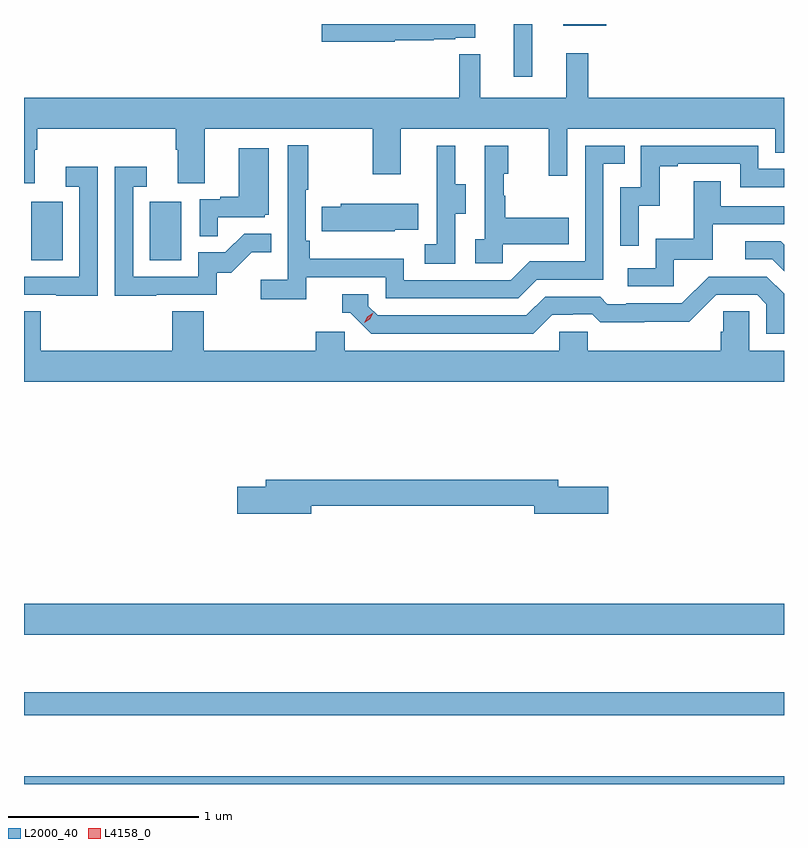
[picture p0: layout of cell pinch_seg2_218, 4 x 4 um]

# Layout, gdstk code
import gdstk
lib = gdstk.Library(unit=1e-6, precision=1e-09)
def R(c, l, rs):  # rectangles x0, y0, x1, y1
    for r in rs: c.add(gdstk.rectangle(r[:2], r[2:], *l))
def P(c, l, *ps):  # polygons
    for p in ps: c.add(gdstk.Polygon(p, *l))
L2000_40 = (2000, 40)
L4158_0 = (4158, 0)

pinch_seg2_218 = lib.new_cell('pinch_seg2_218')
R(pinch_seg2_218, L2000_40, [(994.049,648.183,998.049,648.223), (994.049,648.546,998.049,648.667), (994.049,648.968,998.049,649.132), (994.088,650.94,994.252,651.247), (994.712,650.94,994.876,651.247), (996.627,651.906,996.724,652.183), (996.887,652.175,997.114,652.183)])
P(pinch_seg2_218, L2000_40, [(996,652.098),(996.206,652.098),(996.206,652.104),(996.32,652.104),(996.32,652.11),(996.424,652.11),(996.424,652.183),(995.616,652.183),(995.616,652.09),(996,652.09)],
  [(994.105,651.52),(994.118,651.52),(994.118,651.632),(994.847,651.632),(994.847,651.52),(994.859,651.52),(994.859,651.346),(994.999,651.346),(994.999,651.632),(995.884,651.632),(995.884,651.393),(996.031,651.393),(996.031,651.632),(996.812,651.632),(996.812,651.384),(996.909,651.384),(996.909,651.632),(998.004,651.632),(998.004,651.505),(998.049,651.505),(998.049,651.796),(997.019,651.796),(997.019,652.03),(996.902,652.03),(996.902,651.796),(996.449,651.796),(996.449,652.025),(996.34,652.025),(996.34,651.796),(994.049,651.796),(994.049,651.346),(994.105,651.346)],
  [(995.534,650.85),(995.952,650.85),(995.952,650.739),(996.649,650.739),(996.748,650.838),(997.098,650.838),(997.098,651.447),(997.211,651.447),(997.211,651.543),(997.002,651.543),(997.002,650.934),(996.711,650.934),(996.612,650.835),(996.048,650.835),(996.048,650.947),(995.552,650.947),(995.552,651.043),(995.532,651.043),(995.532,651.31),(995.545,651.31),(995.545,651.544),(995.436,651.544),(995.436,650.836),(995.295,650.836),(995.295,650.734),(995.534,650.734)],
  [(997.284,651.227),(997.394,651.227),(997.394,651.435),(997.489,651.435),(997.489,651.447),(997.818,651.447),(997.818,651.324),(998.049,651.324),(998.049,651.42),(997.914,651.42),(997.914,651.543),(997.296,651.543),(997.296,651.324),(997.188,651.324),(997.188,651.015),(997.284,651.015)],
  [(996.318,651.184),(996.373,651.184),(996.373,651.339),(996.319,651.339),(996.319,651.541),(996.221,651.541),(996.221,651.327),(996.222,651.327),(996.222,651.023),(996.159,651.023),(996.159,650.92),(996.318,650.92)],
  [(996.57,651.023),(996.917,651.023),(996.917,651.163),(996.583,651.163),(996.583,651.278),(996.573,651.278),(996.573,651.396),(996.598,651.396),(996.598,651.541),(996.474,651.541),(996.474,651.05),(996.423,651.05),(996.423,650.925),(996.57,650.925)],
  [(995.069,651.165),(995.316,651.165),(995.316,651.18),(995.338,651.18),(995.338,651.529),(995.18,651.529),(995.18,651.274),(995.081,651.274),(995.081,651.261),(994.974,651.261),(994.974,651.067),(995.069,651.067)],
  [(994.745,650.757),(995.064,650.757),(995.064,650.874),(995.14,650.874),(995.247,650.981),(995.351,650.981),(995.351,651.08),(995.207,651.08),(995.109,650.982),(994.965,650.982),(994.965,650.853),(994.623,650.853),(994.623,651.327),(994.696,651.327),(994.696,651.433),(994.527,651.433),(994.527,650.752),(994.745,650.752)],
  [(994.437,651.433),(994.269,651.433),(994.269,651.327),(994.341,651.327),(994.341,650.853),(994.049,650.853),(994.049,650.757),(994.219,650.757),(994.219,650.752),(994.437,650.752)],
  [(997.47,650.943),(997.675,650.943),(997.675,651.129),(998.049,651.129),(998.049,651.225),(997.717,651.225),(997.717,651.355),(997.573,651.355),(997.573,651.052),(997.374,651.052),(997.374,650.898),(997.227,650.898),(997.227,650.802),(997.47,650.802)],
  [(996,651.101),(996.125,651.101),(996.125,651.238),(995.715,651.238),(995.715,651.222),(995.617,651.222),(995.617,651.092),(996,651.092)],
  [(998.049,651.022),(998.032,651.039),(997.845,651.039),(997.845,650.946),(997.986,650.946),(998.049,650.883)],
  [(996.829,650.652),(996.936,650.652),(996.936,650.655),(997.039,650.655),(997.081,650.613),(997.314,650.613),(997.314,650.615),(997.55,650.615),(997.692,650.757),(997.908,650.757),(997.956,650.709),(997.956,650.553),(998.049,650.553),(998.049,650.763),(997.959,650.853),(997.653,650.853),(997.512,650.712),(997.219,650.712),(997.219,650.709),(997.12,650.709),(997.081,650.748),(996.792,650.748),(996.693,650.649),(995.91,650.649),(995.862,650.697),(995.862,650.76),(995.723,650.76),(995.723,650.664),(995.766,650.664),(995.877,650.553),(996.73,650.553)],
  [(998.049,650.464),(997.866,650.464),(997.866,650.672),(997.729,650.672),(997.729,650.562),(997.715,650.562),(997.715,650.464),(997.017,650.464),(997.017,650.562),(996.867,650.562),(996.867,650.464),(995.736,650.464),(995.736,650.562),(995.585,650.562),(995.585,650.464),(994.994,650.464),(994.994,650.672),(994.829,650.672),(994.829,650.464),(994.136,650.464),(994.136,650.672),(994.049,650.672),(994.049,650.3),(998.049,650.3)],
  [(995.56,649.648),(996.734,649.648),(996.734,649.606),(997.123,649.606),(997.123,649.748),(996.862,649.748),(996.862,649.784),(995.321,649.784),(995.321,649.748),(995.172,649.748),(995.172,649.606),(995.56,649.606)])
P(pinch_seg2_218, L4158_0, [(995.839,650.611),(995.839,650.611),(995.856,650.643),(995.887,650.662),(995.887,650.662),(995.887,650.662),(995.87,650.63),(995.839,650.611)])

lib.write_gds('pinch_seg2_218.gds')
